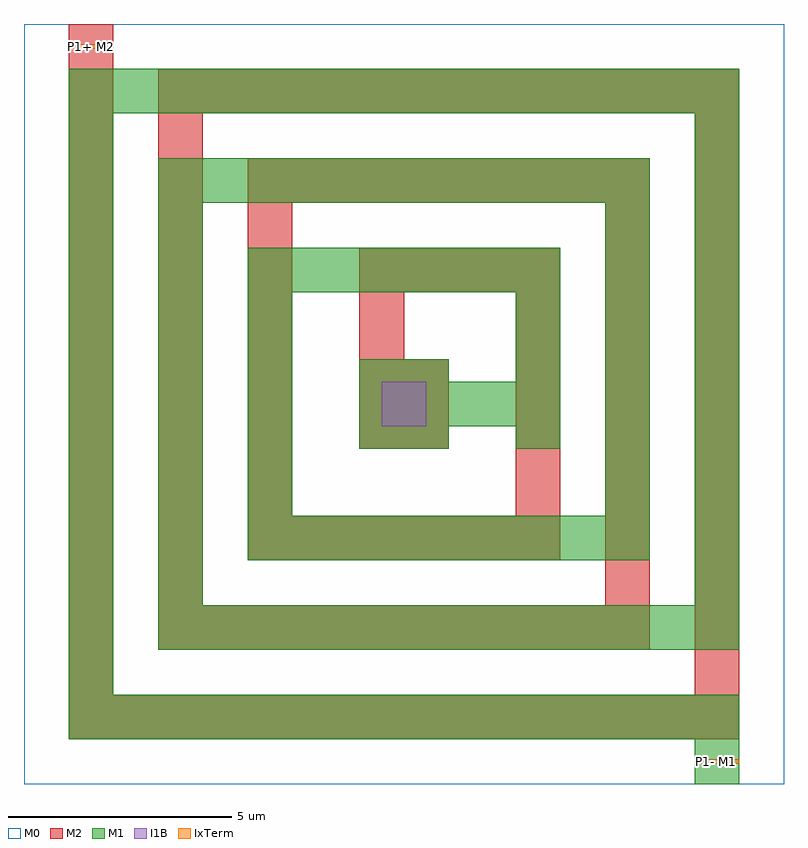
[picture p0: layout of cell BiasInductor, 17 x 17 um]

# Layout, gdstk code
from math import pi, radians
import gdstk
lib = gdstk.Library(unit=1e-6, precision=1e-09)
def R(c, l, rs):  # rectangles x0, y0, x1, y1
    for r in rs: c.add(gdstk.rectangle(r[:2], r[2:], *l))
M1 = (1, 0)
I1B = (3, 0)
M2 = (6, 0)
M0 = (30, 0)
IxTerm = (63, 0)

squarespiral_10 = lib.new_cell('SquareSpiral$10')
squarespiral_10.add(gdstk.FlexPath([(-1.5,3),(2.5,3),(2.5,-3),(-3.5,-3),(-3.5,5),(4.5,5),(4.5,-5),(-5.5,-5),(-5.5,7),(6.5,7),(6.5,-7),(-7.5,-7),(-7.5,7.5)], 1, ends="flush", simple_path=True, layer=6, datatype=0))  # M2

via_m2_m1_5 = lib.new_cell('Via$M2-M1$5')
R(via_m2_m1_5, M1, [(-1,-1,1,1)])
R(via_m2_m1_5, I1B, [(-0.5,-0.5,0.5,0.5)])
R(via_m2_m1_5, M2, [(-1,-1,1,1)])

squarespiral_13 = lib.new_cell('SquareSpiral$13')
squarespiral_13.add(gdstk.FlexPath([(-1.5,3),(2.5,3),(2.5,-3),(-3.5,-3),(-3.5,5),(4.5,5),(4.5,-5),(-5.5,-5),(-5.5,7),(6.5,7),(6.5,-7),(-7.5,-7),(-7.5,7.5)], 1, ends="flush", simple_path=True, layer=1, datatype=0))  # M1

biasinductor = lib.new_cell('BiasInductor')
R(biasinductor, M0, [(-8.5,-8.5,8.5,8.5)])
biasinductor.add(gdstk.FlexPath([(-7,7.5),(-7,8.5)], 1, ends="flush", simple_path=True, layer=6, datatype=0))  # M2
biasinductor.add(gdstk.FlexPath([(-0.5,2.5),(-0.5,1)], 1, ends="flush", simple_path=True, layer=6, datatype=0))  # M2
biasinductor.add(gdstk.FlexPath([(7,-7.5),(7,-8.5)], 1, ends="flush", simple_path=True, layer=1, datatype=0))  # M1
biasinductor.add(gdstk.FlexPath([(2.5,0),(1,0)], 1, ends="flush", simple_path=True, layer=1, datatype=0))  # M1
biasinductor.add(gdstk.FlexPath([(-7.5,8),(-6.5,8)], 0.1, ends="flush", simple_path=True, layer=63, datatype=0))  # IxTerm
biasinductor.add(gdstk.FlexPath([(6.5,-8),(7.5,-8)], 0.1, ends="flush", simple_path=True, layer=63, datatype=0))  # IxTerm
biasinductor.add(gdstk.Reference(squarespiral_10, (0.5,0)))
biasinductor.add(gdstk.Reference(via_m2_m1_5, (0,0)))
biasinductor.add(gdstk.Reference(squarespiral_13, (0,0.5), rotation=pi/2, x_reflection=True))
biasinductor.add(gdstk.Label('P1- M1', (7,-8), layer=64, texttype=0))
biasinductor.add(gdstk.Label('P1+ M2', (-7,8), layer=64, texttype=0))

lib.write_gds('BiasInductor.gds')
